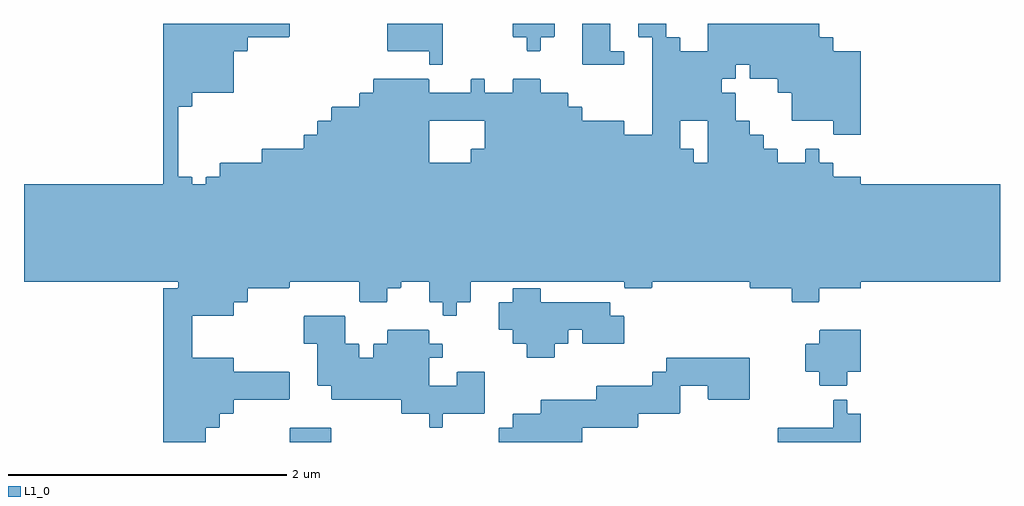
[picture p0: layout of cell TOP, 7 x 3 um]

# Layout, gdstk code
import gdstk
lib = gdstk.Library(unit=1e-6, precision=1e-09)
def P(c, l, *ps):  # polygons
    for p in ps: c.add(gdstk.Polygon(p, *l))
L1_0 = (1, 0)

top = lib.new_cell('TOP')
P(top, L1_0, [(-0.59,1.205),(-0.595,1.21),(-0.595,1.3),(-0.6,1.305),(-0.89,1.305),(-0.895,1.31),(-0.895,1.5),(-0.495,1.5),(-0.495,1.21),(-0.5,1.205)],
  [(0.11,1.305),(0.105,1.31),(0.105,1.4),(0.1,1.405),(0.01,1.405),(0.005,1.41),(0.005,1.5),(0.305,1.5),(0.305,1.41),(0.3,1.405),(0.21,1.405),(0.205,1.4),(0.205,1.31),(0.2,1.305)],
  [(0.51,1.205),(0.505,1.21),(0.505,1.5),(0.705,1.5),(0.705,1.31),(0.71,1.305),(0.8,1.305),(0.805,1.3),(0.805,1.21),(0.8,1.205)],
  [(-0.59,-1.395),(-0.595,-1.39),(-0.595,-1.3),(-0.6,-1.295),(-0.79,-1.295),(-0.795,-1.29),(-0.795,-1.2),(-0.8,-1.195),(-1.29,-1.195),(-1.295,-1.19),(-1.295,-1.1),(-1.3,-1.095),(-1.39,-1.095),(-1.395,-1.09),(-1.395,-0.8),(-1.4,-0.795),(-1.49,-0.795),(-1.495,-0.79),(-1.495,-0.6),(-1.49,-0.595),(-1.2,-0.595),(-1.195,-0.6),(-1.195,-0.79),(-1.19,-0.795),(-1.1,-0.795),(-1.095,-0.8),(-1.095,-0.89),(-1.09,-0.895),(-1,-0.895),(-0.995,-0.89),(-0.995,-0.8),(-0.99,-0.795),(-0.9,-0.795),(-0.895,-0.79),(-0.895,-0.7),(-0.89,-0.695),(-0.6,-0.695),(-0.595,-0.7),(-0.595,-0.79),(-0.59,-0.795),(-0.5,-0.795),(-0.495,-0.8),(-0.495,-0.89),(-0.5,-0.895),(-0.59,-0.895),(-0.595,-0.9),(-0.595,-1.09),(-0.59,-1.095),(-0.4,-1.095),(-0.395,-1.09),(-0.395,-1),(-0.39,-0.995),(-0.2,-0.995),(-0.195,-1),(-0.195,-1.29),(-0.2,-1.295),(-0.49,-1.295),(-0.495,-1.3),(-0.495,-1.39),(-0.5,-1.395)],
  [(2.21,-1.095),(2.205,-1.09),(2.205,-1),(2.2,-0.995),(2.11,-0.995),(2.105,-0.99),(2.105,-0.8),(2.11,-0.795),(2.2,-0.795),(2.205,-0.79),(2.205,-0.7),(2.21,-0.695),(2.5,-0.695),(2.5,-0.995),(2.41,-0.995),(2.405,-1),(2.405,-1.09),(2.4,-1.095)],
  [(-0.095,-1.5),(-0.095,-1.4),(-0.09,-1.395),(0,-1.395),(0.005,-1.39),(0.005,-1.3),(0.01,-1.295),(0.2,-1.295),(0.205,-1.29),(0.205,-1.2),(0.21,-1.195),(0.6,-1.195),(0.605,-1.19),(0.605,-1.1),(0.61,-1.095),(1,-1.095),(1.005,-1.09),(1.005,-1),(1.01,-0.995),(1.1,-0.995),(1.105,-0.99),(1.105,-0.9),(1.11,-0.895),(1.7,-0.895),(1.705,-0.9),(1.705,-1.19),(1.7,-1.195),(1.41,-1.195),(1.405,-1.19),(1.405,-1.1),(1.4,-1.095),(1.21,-1.095),(1.205,-1.1),(1.205,-1.29),(1.2,-1.295),(0.91,-1.295),(0.905,-1.3),(0.905,-1.39),(0.9,-1.395),(0.51,-1.395),(0.505,-1.4),(0.505,-1.5)],
  [(1.905,-1.5),(1.905,-1.4),(1.91,-1.395),(2.3,-1.395),(2.305,-1.39),(2.305,-1.2),(2.31,-1.195),(2.4,-1.195),(2.405,-1.2),(2.405,-1.29),(2.41,-1.295),(2.5,-1.295),(2.5,-1.5)],
  [(-1.595,-1.5),(-1.595,-1.4),(-1.59,-1.395),(-1.3,-1.395),(-1.295,-1.4),(-1.295,-1.5)],
  [(-2.5,-1.5),(-2.5,-0.395),(-2.4,-0.395),(-2.395,-0.39),(-2.395,-0.35),(-3.5,-0.35),(-3.5,0.35),(-2.5,0.35),(-2.5,1.5),(-1.595,1.5),(-1.595,1.41),(-1.6,1.405),(-1.89,1.405),(-1.895,1.4),(-1.895,1.31),(-1.9,1.305),(-1.99,1.305),(-1.995,1.3),(-1.995,1.01),(-2,1.005),(-2.29,1.005),(-2.295,1),(-2.295,0.91),(-2.3,0.905),(-2.39,0.905),(-2.395,0.9),(-2.395,0.41),(-2.39,0.405),(-2.3,0.405),(-2.295,0.4),(-2.295,0.35),(-2.195,0.35),(-2.195,0.4),(-2.19,0.405),(-2.1,0.405),(-2.095,0.41),(-2.095,0.5),(-2.09,0.505),(-1.8,0.505),(-1.795,0.51),(-1.795,0.6),(-1.79,0.605),(-1.5,0.605),(-1.495,0.61),(-1.495,0.7),(-1.49,0.705),(-1.4,0.705),(-1.395,0.71),(-1.395,0.8),(-1.39,0.805),(-1.3,0.805),(-1.295,0.81),(-1.295,0.9),(-1.29,0.905),(-1.1,0.905),(-1.095,0.91),(-1.095,1),(-1.09,1.005),(-1,1.005),(-0.995,1.01),(-0.995,1.1),(-0.99,1.105),(-0.6,1.105),(-0.595,1.1),(-0.595,1.01),(-0.59,1.005),(-0.3,1.005),(-0.295,1.01),(-0.295,1.1),(-0.29,1.105),(-0.2,1.105),(-0.2,0.805),(-0.59,0.805),(-0.595,0.8),(-0.595,0.51),(-0.59,0.505),(-0.3,0.505),(-0.295,0.51),(-0.295,0.6),(-0.29,0.605),(-0.2,0.605),(-0.2,-0.35),(-0.295,-0.35),(-0.295,-0.49),(-0.3,-0.495),(-0.39,-0.495),(-0.395,-0.5),(-0.395,-0.59),(-0.4,-0.595),(-0.49,-0.595),(-0.495,-0.59),(-0.495,-0.5),(-0.5,-0.495),(-0.59,-0.495),(-0.595,-0.49),(-0.595,-0.35),(-0.795,-0.35),(-0.795,-0.39),(-0.8,-0.395),(-0.89,-0.395),(-0.895,-0.4),(-0.895,-0.49),(-0.9,-0.495),(-1.09,-0.495),(-1.095,-0.49),(-1.095,-0.35),(-1.595,-0.35),(-1.595,-0.39),(-1.6,-0.395),(-1.89,-0.395),(-1.895,-0.4),(-1.895,-0.49),(-1.9,-0.495),(-1.99,-0.495),(-1.995,-0.5),(-1.995,-0.59),(-2,-0.595),(-2.29,-0.595),(-2.295,-0.6),(-2.295,-0.89),(-2.29,-0.895),(-2,-0.895),(-1.995,-0.9),(-1.995,-0.99),(-1.99,-0.995),(-1.6,-0.995),(-1.595,-1),(-1.595,-1.19),(-1.6,-1.195),(-1.99,-1.195),(-1.995,-1.2),(-1.995,-1.29),(-2,-1.295),(-2.09,-1.295),(-2.095,-1.3),(-2.095,-1.39),(-2.1,-1.395),(-2.19,-1.395),(-2.195,-1.4),(-2.195,-1.5)],
  [(2.01,-0.495),(2.005,-0.49),(2.005,-0.4),(2,-0.395),(1.71,-0.395),(1.705,-0.39),(1.705,-0.35),(1.005,-0.35),(1.005,-0.39),(1,-0.395),(0.81,-0.395),(0.805,-0.39),(0.805,-0.35),(-0.2,-0.35),(-0.2,0.605),(-0.195,0.61),(1.205,0.61),(1.21,0.605),(1.3,0.605),(1.305,0.6),(1.305,0.51),(1.31,0.505),(1.4,0.505),(1.405,0.51),(1.405,0.8),(1.4,0.805),(1.21,0.805),(1.205,0.8),(1.205,0.61),(-0.195,0.61),(-0.195,0.8),(-0.2,0.805),(-0.2,1.105),(-0.195,1.1),(-0.195,1.01),(-0.19,1.005),(0,1.005),(0.005,1.01),(0.005,1.1),(0.01,1.105),(0.2,1.105),(0.205,1.1),(0.205,1.01),(0.21,1.005),(0.4,1.005),(0.405,1),(0.405,0.91),(0.41,0.905),(0.5,0.905),(0.505,0.9),(0.505,0.81),(0.51,0.805),(0.8,0.805),(0.805,0.8),(0.805,0.71),(0.81,0.705),(1,0.705),(1.005,0.71),(1.005,1.4),(1,1.405),(0.91,1.405),(0.905,1.41),(0.905,1.5),(1.105,1.5),(1.105,1.41),(1.11,1.405),(1.2,1.405),(1.205,1.4),(1.205,1.31),(1.21,1.305),(1.4,1.305),(1.405,1.31),(1.405,1.5),(2.205,1.5),(2.205,1.41),(2.21,1.405),(2.3,1.405),(2.305,1.4),(2.305,1.31),(2.31,1.305),(2.5,1.305),(2.5,0.705),(2.31,0.705),(2.305,0.71),(2.305,0.8),(2.3,0.805),(2.01,0.805),(2.005,0.81),(2.005,1),(2,1.005),(1.91,1.005),(1.905,1.01),(1.905,1.1),(1.9,1.105),(1.71,1.105),(1.705,1.11),(1.705,1.2),(1.7,1.205),(1.61,1.205),(1.605,1.2),(1.605,1.11),(1.6,1.105),(1.51,1.105),(1.505,1.1),(1.505,1.01),(1.51,1.005),(1.6,1.005),(1.605,1),(1.605,0.81),(1.61,0.805),(1.7,0.805),(1.705,0.8),(1.705,0.71),(1.71,0.705),(1.8,0.705),(1.805,0.7),(1.805,0.61),(1.81,0.605),(1.9,0.605),(1.905,0.6),(1.905,0.51),(1.91,0.505),(2.1,0.505),(2.105,0.51),(2.105,0.6),(2.11,0.605),(2.2,0.605),(2.205,0.6),(2.205,0.51),(2.21,0.505),(2.3,0.505),(2.305,0.5),(2.305,0.41),(2.31,0.405),(2.5,0.405),(2.5,0.35),(3.5,0.35),(3.5,-0.35),(2.5,-0.35),(2.5,-0.395),(2.21,-0.395),(2.205,-0.4),(2.205,-0.49),(2.2,-0.495)],
  [(0.11,-0.895),(0.105,-0.89),(0.105,-0.8),(0.1,-0.795),(0.01,-0.795),(0.005,-0.79),(0.005,-0.7),(0,-0.695),(-0.09,-0.695),(-0.095,-0.69),(-0.095,-0.5),(-0.09,-0.495),(0,-0.495),(0.005,-0.49),(0.005,-0.4),(0.01,-0.395),(0.2,-0.395),(0.205,-0.4),(0.205,-0.49),(0.21,-0.495),(0.7,-0.495),(0.705,-0.5),(0.705,-0.59),(0.71,-0.595),(0.8,-0.595),(0.805,-0.6),(0.805,-0.79),(0.8,-0.795),(0.51,-0.795),(0.505,-0.79),(0.505,-0.7),(0.5,-0.695),(0.41,-0.695),(0.405,-0.7),(0.405,-0.79),(0.4,-0.795),(0.31,-0.795),(0.305,-0.8),(0.305,-0.89),(0.3,-0.895)])

lib.write_gds('TOP.gds')
